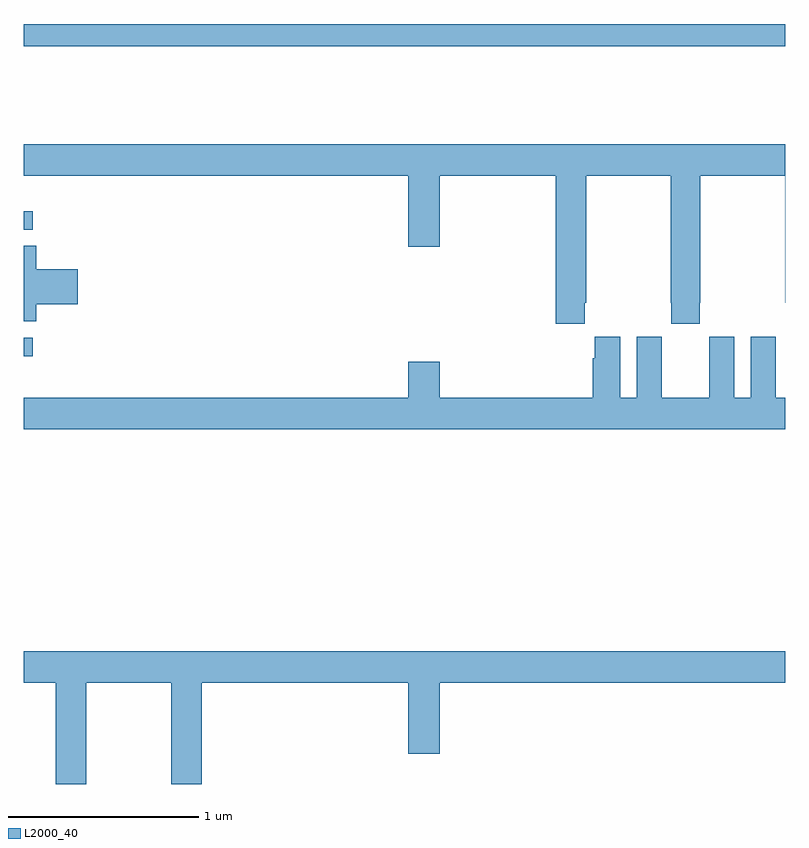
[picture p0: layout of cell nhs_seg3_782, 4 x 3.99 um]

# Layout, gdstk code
import gdstk
lib = gdstk.Library(unit=1e-6, precision=1e-09)
def R(c, l, rs):  # rectangles x0, y0, x1, y1
    for r in rs: c.add(gdstk.rectangle(r[:2], r[2:], *l))
def P(c, l, *ps):  # polygons
    for p in ps: c.add(gdstk.Polygon(p, *l))
L2000_40 = (2000, 40)

nhs_seg3_782 = lib.new_cell('nhs_seg3_782')
R(nhs_seg3_782, L2000_40, [(151,686.647,151.048,686.745), (151,687.312,151.048,687.408), (151,688.276,155,688.392)])
P(nhs_seg3_782, L2000_40, [(151,687.596),(153.02,687.596),(153.02,687.222),(153.184,687.222),(153.184,687.596),(153.794,687.596),(153.794,686.817),(153.947,686.817),(153.947,686.929),(153.954,686.929),(153.954,687.596),(154.399,687.596),(154.399,686.929),(154.401,686.929),(154.401,686.817),(154.551,686.817),(154.551,686.929),(154.554,686.929),(154.554,687.596),(154.999,687.596),(154.999,686.929),(155,686.929),(155,687.76),(151,687.76)],
  [(151.067,686.921),(151.285,686.921),(151.285,687.104),(151.067,687.104),(151.067,687.227),(151,687.227),(151,686.83),(151.067,686.83)],
  [(155,686.428),(154.951,686.428),(154.951,686.636),(154.95,686.636),(154.95,686.749),(154.82,686.749),(154.82,686.428),(154.732,686.428),(154.732,686.749),(154.602,686.749),(154.602,686.636),(154.601,686.636),(154.601,686.428),(154.351,686.428),(154.351,686.636),(154.35,686.636),(154.35,686.749),(154.22,686.749),(154.22,686.428),(154.132,686.428),(154.132,686.749),(153.998,686.749),(153.998,686.636),(153.989,686.636),(153.989,686.428),(153.184,686.428),(153.184,686.617),(153.02,686.617),(153.02,686.428),(151,686.428),(151,686.264),(155,686.264)],
  [(151,684.932),(151.169,684.932),(151.169,684.4),(151.329,684.4),(151.329,684.932),(151.774,684.932),(151.774,684.4),(151.934,684.4),(151.934,684.932),(153.02,684.932),(153.02,684.558),(153.184,684.558),(153.184,684.932),(155,684.932),(155,685.096),(151,685.096)])

lib.write_gds('nhs_seg3_782.gds')
